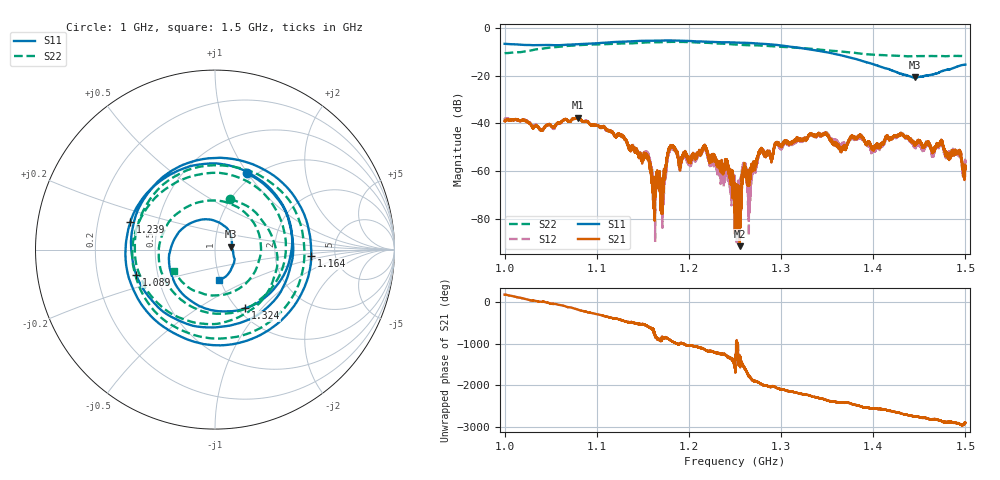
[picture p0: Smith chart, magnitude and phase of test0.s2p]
!Keysight Technologies N9923A: A.08.15
!Date: Friday, 16 February 2024 21:04:35
!Timezone: (GMT-05:00) Eastern Time (US & Canada)
!Model: N9923A
!Serial: MY52412730
!GPS Latitude:
!GPS Longitude:
!GPS TimeStamp: 0001-01-01 00:00:00Z
!GPS Seconds Since Last Read: 0
!CHECKSUM:1267421862
!Correction: S11(ON Q)S21(ON Q)S12(ON Q)S22(ON Q)
!S2P File: Measurements:S11,S21,S12,S22:
# Hz S DB R 50
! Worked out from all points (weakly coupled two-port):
!   10001 points, 1 GHz to 1.5 GHz, reference 50 ohm
!   highest |S21| = -37.63 dB at 1.079 GHz (marker M1); lowest = -91.4 dB at 1.255 GHz (marker M2)
!   lowest |S11| = -20.8 dB at 1.445 GHz (marker M3), VSWR 1.20, Z = 59.9 + j2.04 ohm
!   |S11| at or under -10 dB: 1.345376 GHz to 1.345434 GHz (57.15 kHz wide, 0.00425 % of centre); 1.345 GHz to end of sweep
!   |S22| runs from -12.0 to -5.9 dB; largest |S21 - S12| = 0.0015
!   S11 on the Smith chart (normalised r, x): 1 GHz: 0.92, +0.99; 1.089 GHz: 0.38, -0.13; 1.164 GHz: 3.29, -0.32; 1.239 GHz: 0.34, +0.14; 1.324 GHz: 1.08, -0.82; 1.5 GHz: 0.98, -0.34
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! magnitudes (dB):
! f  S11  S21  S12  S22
! 1 GHz  -6.7  -39.0  -38.2  -10.6
! 1.079 GHz  -6.9  -37.6  -37.7  -7.3
! 1.083 GHz  -6.9  -38.8  -38.9  -7.2
! 1.089 GHz  -6.7  -39.1  -39.2  -7.1
! 1.154 GHz  -5.4  -53.7  -51.9  -6.1
! 1.164 GHz  -5.4  -66.8  -64.0  -6.1
! 1.167 GHz  -5.4  -64.8  -63.1  -6.1
! 1.172 GHz  -5.3  -63.8  -69.6  -6.0
! 1.182 GHz  -5.4  -49.8  -50.6  -5.9
! 1.191 GHz  -5.4  -57.1  -58.3  -5.9
! 1.217 GHz  -5.8  -49.5  -50.1  -6.3
! 1.239 GHz  -6.1  -55.2  -58.8  -6.7
! 1.25 GHz  -6.2  -68.2  -68.2  -7.0
! 1.255 GHz  -6.3  -91.4  -63.7  -7.1
! 1.26 GHz  -6.3  -60.0  -57.2  -7.3
! 1.266 GHz  -6.4  -62.2  -68.7  -7.3
! 1.278 GHz  -6.7  -50.6  -51.0  -7.5
! 1.324 GHz  -8.7  -46.4  -47.1  -8.6
! 1.333 GHz  -9.2  -44.8  -45.0  -8.9
! 1.417 GHz  -17.3  -45.9  -45.9  -11.6
! 1.445 GHz  -20.8  -48.9  -49.4  -11.9
! 1.5 GHz  -15.4  -58.0  -55.3  -11.8
